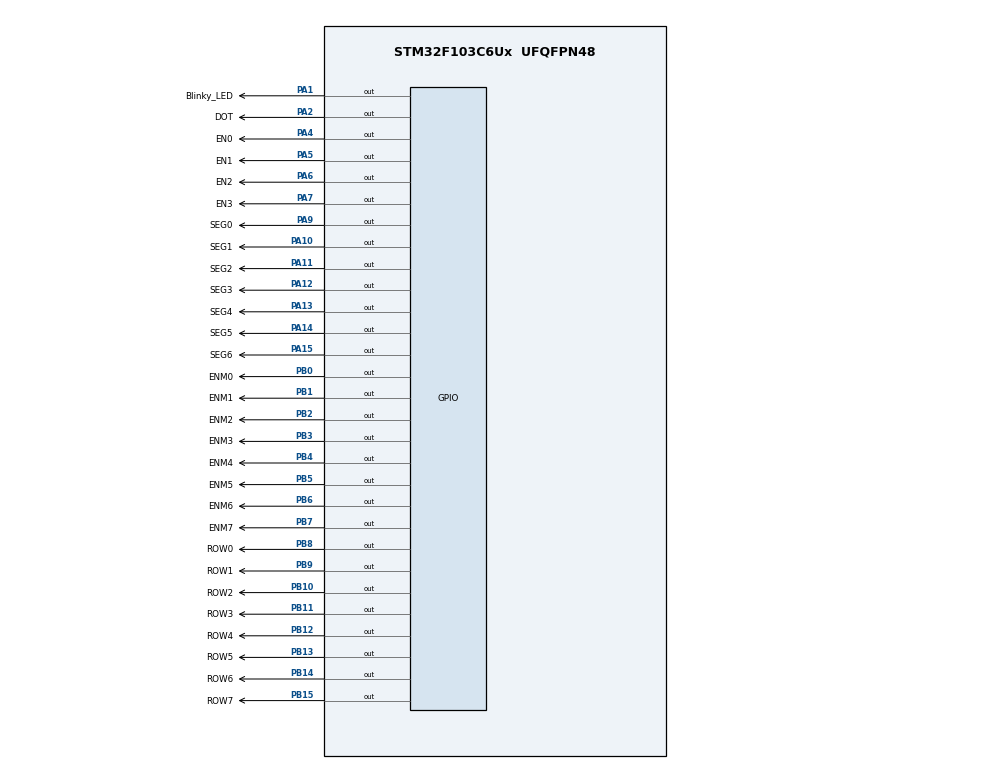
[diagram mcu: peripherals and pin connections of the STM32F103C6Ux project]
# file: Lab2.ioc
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Mcu.Family=STM32F1
Mcu.Name=STM32F103C6Ux
Mcu.Package=UFQFPN48
NVIC.PriorityGroup=NVIC_PRIORITYGROUP_4
NVIC.TIM2_IRQn=true\:0\:0\:false\:false\:true\:true\:true
PA1.GPIO_Label=Blinky_LED
PA1.Signal=GPIO_Output
PA10.GPIO_Label=SEG1
PA10.Signal=GPIO_Output
PA11.GPIO_Label=SEG2
PA11.Signal=GPIO_Output
PA12.GPIO_Label=SEG3
PA12.Signal=GPIO_Output
PA13.GPIO_Label=SEG4
PA13.Signal=GPIO_Output
PA14.GPIO_Label=SEG5
PA14.Signal=GPIO_Output
PA15.GPIO_Label=SEG6
PA15.Signal=GPIO_Output
PA2.GPIO_Label=DOT
PA2.Signal=GPIO_Output
PA4.GPIO_Label=EN0
PA4.Signal=GPIO_Output
PA5.GPIO_Label=EN1
PA5.Signal=GPIO_Output
PA6.GPIO_Label=EN2
PA6.Signal=GPIO_Output
PA7.GPIO_Label=EN3
PA7.Signal=GPIO_Output
PA9.GPIO_Label=SEG0
PA9.Signal=GPIO_Output
PB0.GPIO_Label=ENM0
PB0.Signal=GPIO_Output
PB1.GPIO_Label=ENM1
PB1.Signal=GPIO_Output
PB10.GPIO_Label=ROW2
PB10.Signal=GPIO_Output
PB11.GPIO_Label=ROW3
PB11.Signal=GPIO_Output
PB12.GPIO_Label=ROW4
PB12.Signal=GPIO_Output
PB13.GPIO_Label=ROW5
PB13.Signal=GPIO_Output
PB14.GPIO_Label=ROW6
PB14.Signal=GPIO_Output
PB15.GPIO_Label=ROW7
PB15.Signal=GPIO_Output
PB2.GPIO_Label=ENM2
PB2.Signal=GPIO_Output
PB3.GPIO_Label=ENM3
PB3.Signal=GPIO_Output
PB4.GPIO_Label=ENM4
PB4.Signal=GPIO_Output
PB5.GPIO_Label=ENM5
PB5.Signal=GPIO_Output
PB6.GPIO_Label=ENM6
PB6.Signal=GPIO_Output
PB7.GPIO_Label=ENM7
PB7.Signal=GPIO_Output
PB8.GPIO_Label=ROW0
PB8.Signal=GPIO_Output
PB9.GPIO_Label=ROW1
PB9.Signal=GPIO_Output
ProjectManager.HeapSize=0x200
ProjectManager.StackSize=0x400
ProjectManager.TargetToolchain=STM32CubeIDE
RCC.APB1Freq_Value=8000000
RCC.APB2Freq_Value=8000000
TIM2.Period=9
TIM2.Prescaler=7999
VP_SYS_VS_ND.Mode=No_Debug
VP_TIM2_VS_ClockSourceINT.Mode=Internal
board=custom

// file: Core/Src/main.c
/* USER CODE BEGIN Header */
/**
 ******************************************************************************
 * @file           : main.c
 * @brief          : Main program body
 ******************************************************************************
 * @attention
 *
 * <h2><center>&copy; Copyright (c) 2024 STMicroelectronics.
 * All rights reserved.</center></h2>
 *
 * This software component is licensed by ST under BSD 3-Clause license,
 * the "License"; You may not use this file except in compliance with the
 * License. You may obtain a copy of the License at:
 *                        opensource.org/licenses/BSD-3-Clause
 *
 ******************************************************************************
 */
/* USER CODE END Header */
#include "main.h"

TIM_HandleTypeDef htim2;

void SystemClock_Config(void);
static void MX_TIM2_Init(void);
static void MX_GPIO_Init(void);

/* USER CODE BEGIN 0 */
int timer_flag[11];
int timer_counter[11];
int TIMER_CYCLE = 10;

void setTimer(int index, int counter) {
	timer_flag[index] = 0;
	timer_counter[index] = counter / TIMER_CYCLE;
}
void timerRun() {
	for (int i = 0; i < 11; i++) {
		if (timer_counter[i] > 0) {
			timer_counter[i]--;
		}
		if (timer_counter[i] <= 0) {
			timer_flag[i] = 1;
		}
	}
}
/* USER CODE END 0 */

int main(void) {

	/* MCU Configuration--------------------------------------------------------*/

	/* Reset of all peripherals, Initializes the Flash interface and the Systick. */
	HAL_Init();

	/* Configure the system clock */
	SystemClock_Config();

	/* Initialize all configured peripherals */
	MX_TIM2_Init();
	MX_GPIO_Init();
	/* USER CODE BEGIN 2 */
	HAL_TIM_Base_Start_IT(&htim2);
	ex5_init();
	ex10_init();
	HAL_GPIO_WritePin( Blinky_LED_GPIO_Port, Blinky_LED_Pin, GPIO_PIN_SET);
	/* USER CODE END 2 */

	/* Infinite loop */
	/* USER CODE BEGIN WHILE */
	while (1) {
		if (timer_flag[0] == 1) {
			HAL_GPIO_TogglePin( Blinky_LED_GPIO_Port, Blinky_LED_Pin);
			setTimer(0, 1000);
		}
		if(timer_flag[1] == 1) {
			HAL_GPIO_TogglePin ( DOT_GPIO_Port , DOT_Pin );
			setTimer(1, 1000);
		}
		if (timer_flag[5] == 1) {
			ex5_run();
			setTimer(5, 1000);
		}
		if (timer_flag[10] == 1) {
			ex10_run();
			setTimer(10, 250);
		}
		/* USER CODE END WHILE */

	}
}

void SystemClock_Config(void) {
	RCC_OscInitTypeDef RCC_OscInitStruct = { 0 };
	RCC_ClkInitTypeDef RCC_ClkInitStruct = { 0 };

	/** Initializes the RCC Oscillators according to the specified parameters
	 * in the RCC_OscInitTypeDef structure.
	 */
	RCC_OscInitStruct.OscillatorType = RCC_OSCILLATORTYPE_HSI;
	RCC_OscInitStruct.HSIState = RCC_HSI_ON;
	RCC_OscInitStruct.HSICalibrationValue = RCC_HSICALIBRATION_DEFAULT;
	RCC_OscInitStruct.PLL.PLLState = RCC_PLL_NONE;
	if (HAL_RCC_OscConfig(&RCC_OscInitStruct) != HAL_OK) {
		Error_Handler();
	}
	/** Initializes the CPU, AHB and APB buses clocks
	 */
	RCC_ClkInitStruct.ClockType = RCC_CLOCKTYPE_HCLK | RCC_CLOCKTYPE_SYSCLK
			| RCC_CLOCKTYPE_PCLK1 | RCC_CLOCKTYPE_PCLK2;
	RCC_ClkInitStruct.SYSCLKSource = RCC_SYSCLKSOURCE_HSI;
	RCC_ClkInitStruct.AHBCLKDivider = RCC_SYSCLK_DIV1;
	RCC_ClkInitStruct.APB1CLKDivider = RCC_HCLK_DIV1;
	RCC_ClkInitStruct.APB2CLKDivider = RCC_HCLK_DIV1;

	if (HAL_RCC_ClockConfig(&RCC_ClkInitStruct, FLASH_LATENCY_0) != HAL_OK) {
		Error_Handler();
	}
}

static void MX_TIM2_Init(void) {

	TIM_ClockConfigTypeDef sClockSourceConfig = { 0 };
	TIM_MasterConfigTypeDef sMasterConfig = { 0 };

	htim2.Instance = TIM2;
	htim2.Init.Prescaler = 7999;
	htim2.Init.CounterMode = TIM_COUNTERMODE_UP;
	htim2.Init.Period = 9;
	htim2.Init.ClockDivision = TIM_CLOCKDIVISION_DIV1;
	htim2.Init.AutoReloadPreload = TIM_AUTORELOAD_PRELOAD_DISABLE;
	if (HAL_TIM_Base_Init(&htim2) != HAL_OK) {
		Error_Handler();
	}
	sClockSourceConfig.ClockSource = TIM_CLOCKSOURCE_INTERNAL;
	if (HAL_TIM_ConfigClockSource(&htim2, &sClockSourceConfig) != HAL_OK) {
		Error_Handler();
	}
	sMasterConfig.MasterOutputTrigger = TIM_TRGO_RESET;
	sMasterConfig.MasterSlaveMode = TIM_MASTERSLAVEMODE_DISABLE;
	if (HAL_TIMEx_MasterConfigSynchronization(&htim2, &sMasterConfig)
			!= HAL_OK) {
		Error_Handler();
	}

}

static void MX_GPIO_Init(void) {
	GPIO_InitTypeDef GPIO_InitStruct = { 0 };

	/* GPIO Ports Clock Enable */
	__HAL_RCC_GPIOA_CLK_ENABLE();
	__HAL_RCC_GPIOB_CLK_ENABLE();

	/*Configure GPIO pin Output Level */
	HAL_GPIO_WritePin(GPIOA,
			Blinky_LED_Pin | DOT_Pin | EN0_Pin | EN1_Pin | EN2_Pin | EN3_Pin
					| SEG0_Pin | SEG1_Pin | SEG2_Pin | SEG3_Pin | SEG4_Pin
					| SEG5_Pin | SEG6_Pin, GPIO_PIN_RESET);

	/*Configure GPIO pin Output Level */
	HAL_GPIO_WritePin(GPIOB,
			ENM0_Pin | ENM1_Pin | ENM2_Pin | ROW2_Pin | ROW3_Pin | ROW4_Pin
					| ROW5_Pin | ROW6_Pin | ROW7_Pin | ENM3_Pin | ENM4_Pin
					| ENM5_Pin | ENM6_Pin | ENM7_Pin | ROW0_Pin | ROW1_Pin,
			GPIO_PIN_RESET);

	/*Configure GPIO pins : Blinky_LED_Pin DOT_Pin EN0_Pin EN1_Pin
	 EN2_Pin EN3_Pin SEG0_Pin SEG1_Pin
	 SEG2_Pin SEG3_Pin SEG4_Pin SEG5_Pin
	 SEG6_Pin */
	GPIO_InitStruct.Pin = Blinky_LED_Pin | DOT_Pin | EN0_Pin | EN1_Pin | EN2_Pin
			| EN3_Pin | SEG0_Pin | SEG1_Pin | SEG2_Pin | SEG3_Pin | SEG4_Pin
			| SEG5_Pin | SEG6_Pin;
	GPIO_InitStruct.Mode = GPIO_MODE_OUTPUT_PP;
	GPIO_InitStruct.Pull = GPIO_NOPULL;
	GPIO_InitStruct.Speed = GPIO_SPEED_FREQ_LOW;
	HAL_GPIO_Init(GPIOA, &GPIO_InitStruct);

	/*Configure GPIO pins : ENM0_Pin ENM1_Pin ENM2_Pin ROW2_Pin
	 ROW3_Pin ROW4_Pin ROW5_Pin ROW6_Pin
	 ROW7_Pin ENM3_Pin ENM4_Pin ENM5_Pin
	 ENM6_Pin ENM7_Pin ROW0_Pin ROW1_Pin */
	GPIO_InitStruct.Pin = ENM0_Pin | ENM1_Pin | ENM2_Pin | ROW2_Pin | ROW3_Pin
			| ROW4_Pin | ROW5_Pin | ROW6_Pin | ROW7_Pin | ENM3_Pin | ENM4_Pin
			| ENM5_Pin | ENM6_Pin | ENM7_Pin | ROW0_Pin | ROW1_Pin;
	GPIO_InitStruct.Mode = GPIO_MODE_OUTPUT_PP;
	GPIO_InitStruct.Pull = GPIO_NOPULL;
	GPIO_InitStruct.Speed = GPIO_SPEED_FREQ_LOW;
	HAL_GPIO_Init(GPIOB, &GPIO_InitStruct);

}

/* USER CODE BEGIN 4 */
void HAL_TIM_PeriodElapsedCallback(TIM_HandleTypeDef *htim) {
	timerRun();
}
/* USER CODE END 4 */

void Error_Handler(void) {
	__disable_irq();
	while (1) {
	}
}

/************************ (C) COPYRIGHT STMicroelectronics *****END OF FILE****/
